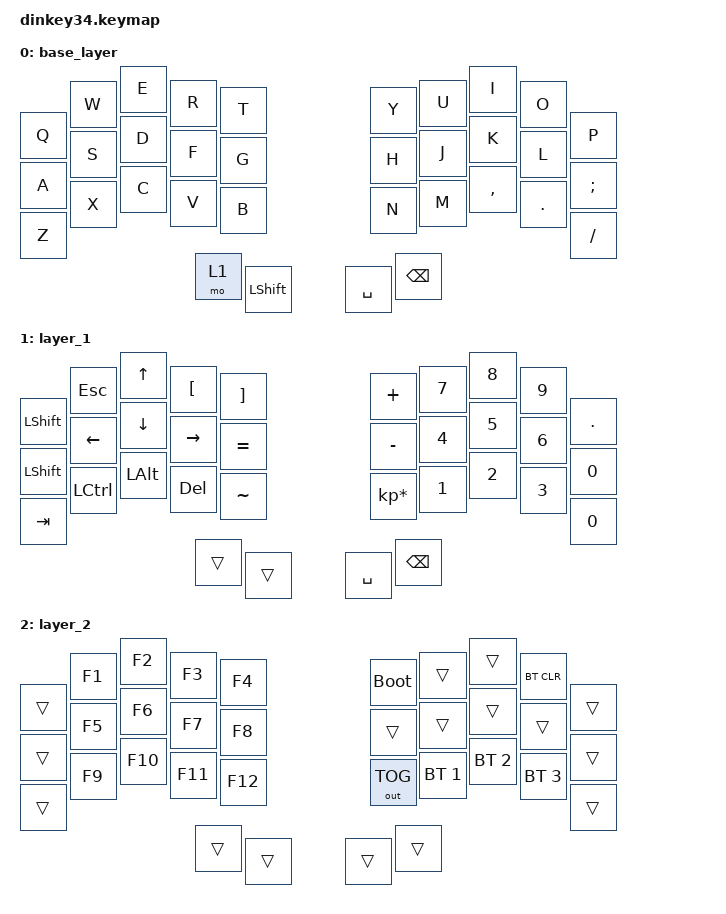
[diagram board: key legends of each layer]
/*
 * Copyright (c) 2021 The ZMK Contributors
 *
 * SPDX-License-Identifier: MIT
 */

#undef ZMK_BEHAVIORS_KEEP_ALL
#define ZMK_BEHAVIORS_KEEP_KP
#define ZMK_BEHAVIORS_KEEP_MT
#define ZMK_BEHAVIORS_KEEP_MOD_MORPH
#define ZMK_BEHAVIORS_KEEP_STUDIO_UNLOCK
#define ZMK_BEHAVIORS_KEEP_OUT
#define ZMK_BEHAVIORS_KEEP_BT
#define ZMK_BEHAVIORS_KEEP_RESET
#define ZMK_BEHAVIORS_KEEP_BOOTLOADER
#define ZMK_BEHAVIORS_KEEP_MO
#define ZMK_BEHAVIORS_KEEP_LT
#define ZMK_BEHAVIORS_KEEP_TO
#define ZMK_BEHAVIORS_KEEP_TRANS

#include <behaviors.dtsi>
#include <dt-bindings/zmk/bt.h>
#include <dt-bindings/zmk/keys.h>
#include <dt-bindings/zmk/outputs.h>

/ {
    combos {
        compatible = "zmk,combos";

        combo_q{
            bindings = <&kp Q>;
            key-positions = <11 12>;
            layers = <0>;
        };

        combo_z{
            bindings = <&kp Z>;
            key-positions = <21 22>;
            layers = <0>;
        };

        combo_lower {
            bindings = <&mo 2>;
            key-positions = <32 33>;
            layers = <0>;
        };

        combo_ent {
            bindings = <&kp ENTER>;
            key-positions = <33 25>;
            layers = <0>;
        };

        combo_tab {
            bindings = <&kp TAB>;
            key-positions = <1 11>;
            layers = <0>;
        };

        combo_ctrl {
            bindings = <&kp LEFT_CONTROL>;
            key-positions = <11 21>;
            layers = <0>;
        };

        combo_bcspc {
            bindings = <&kp BACKSPACE>;
            key-positions = <22 23>;
            layers = <0>;
        };

        combo_ent2 {
            bindings = <&kp ENTER>;
            key-positions = <23 24>;
            layers = <0>;
        };

        combo_undscore {
            bindings = <&kp MINUS>;
            key-positions = <26 27>;
            layers = <0>;
        };

        combo_quote {
            bindings = <&kp APOS>;
            key-positions = <27 28>;
            layers = <0>;
        };

        combo_lprnth {
            bindings = <&kp LEFT_PARENTHESIS>;
            key-positions = <6 7>;
            layers = <0>;
        };

        combo_rprnth {
            bindings = <&kp RIGHT_PARENTHESIS>;
            key-positions = <7 8>;
            layers = <0>;
        };

        combo_DOT {
            bindings = <&kp DOT>;
            key-positions = <27 28>;
            layers = <1>;
        };

        combo_alt {
            bindings = <&kp LEFT_ALT>;
            key-positions = <2 12>;
            layers = <0>;
        };
        combo_exl {
            bindings = <&kp EXCL>;
            key-positions = <15 16>;
            layers = <0>;
        };
        combo_slash {
            bindings = <&kp SLASH>;
            key-positions = <16 17>;
            layers = <0 1 >;
        };
        combo_semi {
            bindings = <&kp SEMI>;
            key-positions = <17 18>;
            layers = <0>;
        };
        combo_left_bracket {
            bindings = <&kp LEFT_BRACKET>;
            key-positions = <1 2>;
            layers = <0 1 >;
        };
           combo_right_bracket {
            bindings = <&kp RIGHT_BRACKET>;
            key-positions = <2 3>;
            layers = <0 1 >;
        };
           combo_bslh{
            bindings = <&kp BSLH>;
            key-positions = <3 4>;
            layers = <0 1 >;
        };
            combo_equal{
            bindings = <&kp EQUAL>;
            key-positions = <13 14>;
            layers = <0 1 >;
        };

        combo_studio_unlock {
            bindings = <&studio_unlock>;
            key-positions = <0 9>;
            layers = <0>;
        };
    };

    keymap {
        compatible = "zmk,keymap";

        base_layer {
            bindings = <
    &kp Q    &kp W  &kp E  &kp R   &kp T                 &kp Y      &kp U  &kp I      &kp O    &kp P
    &kp A    &kp S  &kp D  &kp F   &kp G                 &kp H      &kp J  &kp K      &kp L    &kp SEMI
    &kp Z    &kp X  &kp C  &kp V   &kp B                 &kp N      &kp M  &kp COMMA  &kp DOT  &kp SLASH
                           &mo 1   &kp LEFT_SHIFT        &kp SPACE  &kp BACKSPACE
            >;
        };

        layer_1 {
            bindings = <
    &kp LEFT_SHIFT  &kp ESCAPE        &kp UP_ARROW   &kp LEFT_BRACKET  &kp RIGHT_BRACKET       &kp PLUS        &kp NUMBER_7  &kp NUMBER_8  &kp NUMBER_9  &kp DOT
    &kp LEFT_SHIFT  &kp LEFT          &kp DOWN       &kp RIGHT         &kp EQUAL               &kp MINUS       &kp NUMBER_4  &kp NUMBER_5  &kp NUMBER_6  &kp NUMBER_0
    &kp TAB         &kp LEFT_CONTROL  &kp LEFT_ALT   &kp DEL           &kp TILDE               &kp KP_MULTIPLY &kp NUMBER_1  &kp NUMBER_2  &kp NUMBER_3  &kp NUMBER_0
                                                     &trans            &trans                  &kp SPACE       &kp BACKSPACE
            >;
        };

        layer_2 {
            bindings = <
    &trans  &kp F1   &kp F2   &kp F3   &kp F4        &bootloader   &trans        &trans        &bt BT_CLR        &trans
    &trans  &kp F5   &kp F6   &kp F7   &kp F8          &trans        &trans        &trans        &trans         &trans
    &trans  &kp F9   &kp F10  &kp F11  &kp F12        &out OUT_TOG  &bt BT_SEL 1  &bt BT_SEL 2  &bt BT_SEL 3   &trans
                              &trans   &trans        &trans        &trans
            >;
        };

        extra1 {
            status = "reserved";
        };

        extra2 {
            status = "reserved";
        };
    };
};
